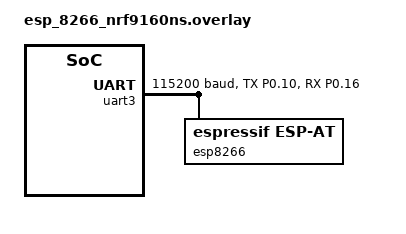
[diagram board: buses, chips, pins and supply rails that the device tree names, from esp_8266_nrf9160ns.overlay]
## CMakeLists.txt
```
#
# Copyright (c) 2021 Nordic Semiconductor
#
# SPDX-License-Identifier: LicenseRef-Nordic-5-Clause
#

cmake_minimum_required(VERSION 3.13.1)

find_package(Zephyr REQUIRED HINTS $ENV{ZEPHYR_BASE})
project(location_sample)

zephyr_library_sources(src/main.c)
```

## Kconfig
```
#
# Copyright (c) 2021 Nordic Semiconductor ASA
#
# SPDX-License-Identifier: LicenseRef-Nordic-5-Clause
#

menu "Location sample"

choice LOCATION_SAMPLE_GNSS_ANTENNA
	default LOCATION_SAMPLE_GNSS_ANTENNA_ONBOARD
	prompt "Select which antenna to use for GNSS"

config LOCATION_SAMPLE_GNSS_ANTENNA_ONBOARD
	bool "Use onboard antenna"

config LOCATION_SAMPLE_GNSS_ANTENNA_EXTERNAL
	bool "Use external antenna"

endchoice

config LOCATION_SAMPLE_GNSS_AT_MAGPIO
	string "AT%XMAGPIO command"
	default "AT\%XMAGPIO=1,0,0,1,1,1574,1577" if BOARD_NRF9160DK_NRF9160_NS
	default "AT\%XMAGPIO=1,1,1,7,1,746,803,2,698,748,2,1710,2200,3,824,894,4,880,960,5,791,849,7,1565,1586" if BOARD_THINGY91_NRF9160_NS
	help
	  Defines what is the AT%XMAGPIO command to be sent to GNSS module. Leave
	  empty if this command should not be sent.

config LOCATION_SAMPLE_GNSS_AT_COEX0
	string "AT%XCOEX0 command"
	default "AT\%XCOEX0=1,1,1565,1586" if (BOARD_NRF9160DK_NRF9160_NS || BOARD_THINGY91_NRF9160_NS) && LOCATION_SAMPLE_GNSS_ANTENNA_ONBOARD
	default "AT\%XCOEX0" if (BOARD_NRF9160DK_NRF9160_NS || BOARD_THINGY91_NRF9160_NS) && LOCATION_SAMPLE_GNSS_ANTENNA_EXTERNAL
	help
	  Defines what is the AT%XCOEX0 command to be sent to GNSS module. Leave
	  empty if this command should not be sent.

endmenu

menu "Zephyr Kernel"
source "Kconfig.zephyr"
endmenu
```

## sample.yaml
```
sample:
  name: location Sample
tests:
  sample.nrf9160.location:
    build_only: true
    integration_platforms:
      - nrf9160dk_nrf9160_ns
    platform_allow: nrf9160dk_nrf9160_ns
    tags: ci_build
  sample.nrf9160.location.esp_wifi:
    build_only: true
    extra_args: >
      OVERLAY_CONFIG=overlay-esp-wifi.conf DTC_OVERLAY_FILE="esp_8266_nrf9160ns.overlay"
    integration_platforms:
      - nrf9160dk_nrf9160_ns
    platform_allow: nrf9160dk_nrf9160_ns
    tags: ci_build
  sample.nrf9160.location.pgps:
    build_only: true
    extra_args: OVERLAY_CONFIG=overlay-pgps.conf
    integration_platforms:
      - nrf9160dk_nrf9160_ns
    platform_allow: nrf9160dk_nrf9160_ns
    tags: ci_build
  sample.nrf9160.location.nrf7002ek_wifi:
    build_only: true
    integration_platforms:
      - nrf9160dk_nrf9160_ns
    platform_allow: nrf9160dk_nrf9160_ns
    extra_args: SHIELD=nrf7002ek OVERLAY_CONFIG=overlay-nrf7002ek-wifi-scan-only.conf
                DTC_OVERLAY_FILE="nrf9160dk_with_nrf7002ek.overlay"
    tags: ci_build
  sample.nrf9160.location.nrf7000ek_wifi:
    build_only: true
    integration_platforms:
      - nrf9160dk_nrf9160_ns
    platform_allow: nrf9160dk_nrf9160_ns
    extra_args: SHIELD=nrf7002ek_nrf7000 OVERLAY_CONFIG=overlay-nrf7002ek-wifi-scan-only.conf
                DTC_OVERLAY_FILE="nrf9160dk_with_nrf7002ek.overlay" CONFIG_WPA_SUPP=n
    tags: ci_build
  sample.nrf9160.location.nrf7001ek_wifi:
    build_only: true
    integration_platforms:
      - nrf9160dk_nrf9160_ns
    platform_allow: nrf9160dk_nrf9160_ns
    extra_args: SHIELD=nrf7002ek_nrf7001 OVERLAY_CONFIG=overlay-nrf7002ek-wifi-scan-only.conf
                DTC_OVERLAY_FILE="nrf9160dk_with_nrf7002ek.overlay"
    tags: ci_build
```

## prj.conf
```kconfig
#
# Copyright (c) 2021 Nordic Semiconductor ASA
#
# SPDX-License-Identifier: LicenseRef-Nordic-5-Clause
#

# General config
CONFIG_FPU=y
CONFIG_NEWLIB_LIBC=y
CONFIG_NEWLIB_LIBC_FLOAT_PRINTF=y
CONFIG_NRF_MODEM_LIB=y

# Heap and stacks
CONFIG_MAIN_STACK_SIZE=2048
# Extended memory heap size needed for encoding REST messages to JSON
CONFIG_HEAP_MEM_POOL_SIZE=8192
CONFIG_SYSTEM_WORKQUEUE_STACK_SIZE=1536
# Increase AT monitor heap because %NCELLMEAS notifications can be large
CONFIG_AT_MONITOR_HEAP_SIZE=512

# Location library
CONFIG_LOCATION=y

# Logging
CONFIG_LOG=y
CONFIG_LOG_MODE_IMMEDIATE=y

# Network
CONFIG_NETWORKING=y
CONFIG_NET_NATIVE=n
CONFIG_NET_SOCKETS=y
CONFIG_NET_SOCKETS_OFFLOAD=y

# LTE link control
CONFIG_LTE_LINK_CONTROL=y
CONFIG_LTE_NETWORK_MODE_LTE_M_GPS=y
CONFIG_LTE_AUTO_INIT_AND_CONNECT=n
CONFIG_LTE_EDRX_REQ=y
# Request PSM active time of 8 seconds.
CONFIG_LTE_PSM_REQ_RAT="00000100"

# AT Host library - Used to send AT commands directy from an UART terminal and to allow
#		    integration with nRF Connect for Desktop LTE Link monitor application.
CONFIG_UART_INTERRUPT_DRIVEN=y
CONFIG_AT_HOST_LIBRARY=y

# nRF Cloud (for A-GPS and cell location)
CONFIG_NRF_CLOUD_REST=y
CONFIG_NRF_CLOUD_AGPS=y
CONFIG_MODEM_INFO=y # required by CONFIG_NRF_CLOUD_AGPS
CONFIG_MODEM_INFO_ADD_NETWORK=y # required by CONFIG_NRF_CLOUD_AGPS

# Library that maintains the current date time UTC for A-GPS and P-GPS purposes
CONFIG_DATE_TIME=y

# Modem JWT
CONFIG_MODEM_JWT=y

# Location service selection
#CONFIG_LOCATION_SERVICE_NRF_CLOUD=n
#CONFIG_LOCATION_SERVICE_HERE=y
#CONFIG_LOCATION_SERVICE_HERE_API_KEY=""
```

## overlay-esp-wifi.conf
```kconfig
# ESP 8266 WIFI
CONFIG_WIFI=y
CONFIG_WIFI_LOG_LEVEL_DBG=y # optional
CONFIG_WIFI_OFFLOAD=y
CONFIG_NET_MGMT_EVENT_STACK_SIZE=1024

CONFIG_NET_IPV4=y  # must for ESP8266 to compile
CONFIG_NET_NATIVE=y # must for ESP8266 to compile

CONFIG_WIFI_ESP_AT=y
CONFIG_WIFI_ESP_AT_SCAN_MAC_ADDRESS=y
CONFIG_WIFI_ESP_AT_SCAN_PASSIVE=n
CONFIG_WIFI_ESP_AT_VERSION_1_7=y
CONFIG_WIFI_ESP_AT_SCAN_RESULT_RSSI_ORDERED=y

CONFIG_LOCATION_METHOD_WIFI=y
```

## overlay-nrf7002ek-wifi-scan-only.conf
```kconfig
#
# Copyright (c) 2022 Nordic Semiconductor ASA
#
# SPDX-License-Identifier: LicenseRef-Nordic-5-Clause
#

# Overlay to use nRF7002 EK on top of nrf9160 DK for Wi-Fi scanning

# Disable modem traces as UART1 is disabled
CONFIG_NRF_MODEM_LIB_TRACE=n

CONFIG_LOCATION_METHOD_WIFI=y
CONFIG_LOCATION_SERVICE_NRF_CLOUD=y

# Align this with CONFIG_NRF700X_SCAN_LIMIT.
# Also see comments for CONFIG_HEAP_MEM_POOL_SIZE.
CONFIG_LOCATION_METHOD_WIFI_SCANNING_RESULTS_MAX_CNT=60
CONFIG_LOCATION_WORKQUEUE_STACK_SIZE=8192

# Actual configs for the Wi-Fi
CONFIG_WIFI=y
CONFIG_NRF_WIFI700X=y
# Align this with CONFIG_LOCATION_METHOD_WIFI_SCANNING_RESULTS_MAX_CNT.
# Also see comments for CONFIG_HEAP_MEM_POOL_SIZE.
CONFIG_NRF700X_SCAN_LIMIT=60

# System settings
CONFIG_NEWLIB_LIBC=y

# Scan only using offload API
CONFIG_WPA_SUPP=n

# For nRF9160 the default is socket interface
CONFIG_NET_DEFAULT_IF_ETHERNET=y
CONFIG_MBEDTLS=n
CONFIG_NORDIC_SECURITY_BACKEND=n

# Networking
CONFIG_NET_L2_ETHERNET=y
CONFIG_NET_NATIVE=y
CONFIG_NET_IPV4=y
CONFIG_NET_DHCPV4=y
CONFIG_NET_STATISTICS=y
CONFIG_NET_STATISTICS_WIFI=y
CONFIG_NET_STATISTICS_USER_API=y
CONFIG_NET_CONTEXT_SYNC_RECV=y

# Disable unused networking options
CONFIG_NET_IPV6=n

# Memory configurations
CONFIG_NET_BUF_RX_COUNT=8
CONFIG_NET_BUF_TX_COUNT=8
CONFIG_NET_PKT_RX_COUNT=1
CONFIG_NET_PKT_TX_COUNT=1
CONFIG_NET_TX_STACK_SIZE=4096
CONFIG_NET_RX_STACK_SIZE=4096
CONFIG_NET_TC_TX_COUNT=1
CONFIG_NET_MAX_CONTEXTS=5
CONFIG_NET_MGMT_EVENT_STACK_SIZE=1024

# Wi-Fi shell sample has 25000 heap size. We need a bit more for location request purposes.
# Heap allocation should be changed when CONFIG_LOCATION_METHOD_WIFI_SCANNING_RESULTS_MAX_CNT
# and CONFIG_NRF700X_SCAN_LIMIT (which should be the same value) are changed.
CONFIG_HEAP_MEM_POOL_SIZE=40000
```

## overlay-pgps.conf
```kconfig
#
# Copyright (c) 2021 Nordic Semiconductor ASA
#
# SPDX-License-Identifier: LicenseRef-Nordic-5-Clause
#

# P-GPS overlay configuration

# P-GPS
CONFIG_NRF_CLOUD_REST=y
CONFIG_BUILD_WITH_TFM=n
CONFIG_SPM=y
CONFIG_NRF_CLOUD_PGPS=y
CONFIG_NRF_CLOUD_PGPS_REPLACEMENT_THRESHOLD=4

# Storage for P-GPS
CONFIG_STREAM_FLASH=y
CONFIG_FLASH=y
CONFIG_FLASH_PAGE_LAYOUT=y
CONFIG_FLASH_MAP=y
CONFIG_FCB=y
CONFIG_SETTINGS_FCB=y
CONFIG_MPU_ALLOW_FLASH_WRITE=y

# P-GPS needs more heap
CONFIG_HEAP_MEM_POOL_SIZE=8192

# Download client library stack size needs to be increased with P-GPS
CONFIG_DOWNLOAD_CLIENT_STACK_SIZE=1280
```

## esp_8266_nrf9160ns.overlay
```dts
/* Copyright (c) 2021-2022 Nordic Semiconductor ASA
 *
 * SPDX-License-Identifier: LicenseRef-Nordic-5-Clause
 */

 /*
  * DTS overlay to be used with connecting nRF9160DK with ESP8266-01 using
  * esp_at driver.
  *
  * https://en.wikipedia.org/wiki/ESP8266
  *
  * Wiring:
  * - Slide (SW9) to enable 3V mode.
  * - ESP8266 RX → DK P0.10 (TX)
  * - ESP8266 TX → DK P0.16 (RX)
  * - ESP8266 VCC → DK VDD
  * - ESP8266 CH_PD → DK VDD
  * - ESP8266 GND → DK GND.
  *
  * Compilation with SW overlay:
  * 'west build -p -b nrf9160dk_nrf9160_ns -- -DDTC_OVERLAY_FILE=esp_8266_nrf9160ns.overlay -DOVERLAY_CONFIG=overlay-esp-wifi.conf'
  */

&uart3 {
	status = "okay";
	current-speed = <115200>;

	pinctrl-0 = <&uart3_default_alt>;
	pinctrl-1 = <&uart3_sleep_alt>;
	pinctrl-names = "default", "sleep";
	esp8266: esp8266 {
		compatible = "espressif,esp-at";
		label = "esp8266";
		status = "okay";
	};
};

&pinctrl {
	uart3_default_alt: uart3_default_alt {
		group1 {
			psels = <NRF_PSEL(UART_TX, 0, 10)>,
				<NRF_PSEL(UART_RX, 0, 16)>;
		};
	};

	uart3_sleep_alt: uart3_sleep_alt {
		group1 {
			psels = <NRF_PSEL(UART_TX, 0, 10)>,
				<NRF_PSEL(UART_RX, 0, 16)>;
			low-power-enable;
		};
	};

};

/ {
	chosen {
		ncs,location-wifi = &esp8266;
	};
};
```

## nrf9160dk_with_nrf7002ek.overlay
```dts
/*
 * Copyright (c) 2022 Nordic Semiconductor ASA
 *
 * SPDX-License-Identifier: LicenseRef-Nordic-5-Clause
 */

/* Use high drive mode on SPI pins that handle communication with nRF7002
 * so that SCK frequency > 4 MHz can be used. */
 &spi3_default {
	group1 {
		nordic,drive-mode = <NRF_DRIVE_H0H1>;
	};
};

/* Disabled because of conflicts on P0.00 and P0.01 - Arduino pins D0 and D1
 * (iovdd-ctrl-gpios and bucken-gpios in nrf7002_ek, respectively). */
&uart1 {
	status = "disabled";
};
```

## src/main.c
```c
/*
 * Copyright (c) 2021 Nordic Semiconductor ASA
 *
 * SPDX-License-Identifier: LicenseRef-Nordic-5-Clause
 */

#include <string.h>
#include <zephyr/kernel.h>
#include <nrf_modem_at.h>
#include <modem/lte_lc.h>
#include <modem/location.h>
#include <date_time.h>

static K_SEM_DEFINE(location_event, 0, 1);

static K_SEM_DEFINE(lte_connected, 0, 1);

static K_SEM_DEFINE(time_update_finished, 0, 1);

static void date_time_evt_handler(const struct date_time_evt *evt)
{
	k_sem_give(&time_update_finished);
}

static void lte_event_handler(const struct lte_lc_evt *const evt)
{
	switch (evt->type) {
	case LTE_LC_EVT_NW_REG_STATUS:
		if ((evt->nw_reg_status == LTE_LC_NW_REG_REGISTERED_HOME) ||
		     (evt->nw_reg_status == LTE_LC_NW_REG_REGISTERED_ROAMING)) {
			printk("Connected to LTE\n");
			k_sem_give(&lte_connected);
		}
		break;
	default:
		break;
	}
}

static void location_event_handler(const struct location_event_data *event_data)
{
	switch (event_data->id) {
	case LOCATION_EVT_LOCATION:
		printk("Got location:\n");
		printk("  method: %s\n", location_method_str(event_data->method));
		printk("  latitude: %.06f\n", event_data->location.latitude);
		printk("  longitude: %.06f\n", event_data->location.longitude);
		printk("  accuracy: %.01f m\n", event_data->location.accuracy);
		if (event_data->location.datetime.valid) {
			printk("  date: %04d-%02d-%02d\n",
				event_data->location.datetime.year,
				event_data->location.datetime.month,
				event_data->location.datetime.day);
			printk("  time: %02d:%02d:%02d.%03d UTC\n",
				event_data->location.datetime.hour,
				event_data->location.datetime.minute,
				event_data->location.datetime.second,
				event_data->location.datetime.ms);
		}
		printk("  Google maps URL: https://maps.google.com/?q=%.06f,%.06f\n\n",
			event_data->location.latitude, event_data->location.longitude);
		break;

	case LOCATION_EVT_TIMEOUT:
		printk("Getting location timed out\n\n");
		break;

	case LOCATION_EVT_ERROR:
		printk("Getting location failed\n\n");
		break;

	case LOCATION_EVT_GNSS_ASSISTANCE_REQUEST:
		printk("Getting location assistance requested (A-GPS). Not doing anything.\n\n");
		break;

	case LOCATION_EVT_GNSS_PREDICTION_REQUEST:
		printk("Getting location assistance requested (P-GPS). Not doing anything.\n\n");
		break;

	default:
		printk("Getting location: Unknown event\n\n");
		break;
	}

	k_sem_give(&location_event);
}

static void location_event_wait(void)
{
	k_sem_take(&location_event, K_FOREVER);
}

/**
 * @brief Retrieve location so that fallback is applied.
 *
 * @details This is achieved by setting GNSS as first priority method and giving it too short
 * timeout. Then a fallback to next method, which is cellular in this example, occurs.
 */
static void location_with_fallback_get(void)
{
	int err;
	struct location_config config;
	enum location_method methods[] = {LOCATION_METHOD_GNSS, LOCATION_METHOD_CELLULAR};

	location_config_defaults_set(&config, ARRAY_SIZE(methods), methods);
	/* GNSS timeout is set to 1 second to force a failure. */
	config.methods[0].gnss.timeout = 1 * MSEC_PER_SEC;
	/* Default cellular configuration may be overridden here. */
	config.methods[1].cellular.timeout = 40 * MSEC_PER_SEC;

	printk("Requesting location with short GNSS timeout to trigger fallback to cellular...\n");

	err = location_request(&config);
	if (err) {
		printk("Requesting location failed, error: %d\n", err);
		return;
	}

	location_event_wait();
}

/**
 * @brief Retrieve location with default configuration.
 *
 * @details This is achieved by not passing configuration at all to location_request().
 */
static void location_default_get(void)
{
	int err;

	printk("Requesting location with the default configuration...\n");

	err = location_request(NULL);
	if (err) {
		printk("Requesting location failed, error: %d\n", err);
		return;
	}

	location_event_wait();
}

/**
 * @brief Retrieve location with GNSS low accuracy.
 */
static void location_gnss_low_accuracy_get(void)
{
	int err;
	struct location_config config;
	enum location_method methods[] = {LOCATION_METHOD_GNSS};

	location_config_defaults_set(&config, ARRAY_SIZE(methods), methods);
	config.methods[0].gnss.accuracy = LOCATION_ACCURACY_LOW;

	printk("Requesting low accuracy GNSS location...\n");

	err = location_request(&config);
	if (err) {
		printk("Requesting location failed, error: %d\n", err);
		return;
	}

	location_event_wait();
}

/**
 * @brief Retrieve location with GNSS high accuracy.
 */
static void location_gnss_high_accuracy_get(void)
{
	int err;
	struct location_config config;
	enum location_method methods[] = {LOCATION_METHOD_GNSS};

	location_config_defaults_set(&config, ARRAY_SIZE(methods), methods);
	config.methods[0].gnss.accuracy = LOCATION_ACCURACY_HIGH;

	printk("Requesting high accuracy GNSS location...\n");

	err = location_request(&config);
	if (err) {
		printk("Requesting location failed, error: %d\n", err);
		return;
	}

	location_event_wait();
}

#if defined(CONFIG_LOCATION_METHOD_WIFI)
/**
 * @brief Retrieve location with Wi-Fi positioning as first priority, GNSS as second
 * and cellular as third.
 */
static void location_wifi_get(void)
{
	int err;
	struct location_config config;
	enum location_method methods[] = {
		LOCATION_METHOD_WIFI,
		LOCATION_METHOD_GNSS,
		LOCATION_METHOD_CELLULAR};

	location_config_defaults_set(&config, ARRAY_SIZE(methods), methods);

	printk("Requesting Wi-Fi location with GNSS and cellular fallback...\n");

	err = location_request(&config);
	if (err) {
		printk("Requesting location failed, error: %d\n", err);
		return;
	}

	location_event_wait();
}
#endif

/**
 * @brief Retrieve location periodically with GNSS as first priority and cellular as second.
 */
static void location_gnss_periodic_get(void)
{
	int err;
	struct location_config config;
	enum location_method methods[] = {LOCATION_METHOD_GNSS, LOCATION_METHOD_CELLULAR};

	location_config_defaults_set(&config, ARRAY_SIZE(methods), methods);
	config.interval = 30;

	printk("Requesting 30s periodic GNSS location with cellular fallback...\n");

	err = location_request(&config);
	if (err) {
		printk("Requesting location failed, error: %d\n", err);
		return;
	}
}

int main(void)
{
	int err;

	printk("Location sample started\n\n");

	if (IS_ENABLED(CONFIG_DATE_TIME)) {
		/* Registering early for date_time event handler to avoid missing
		 * the first event after LTE is connected.
		 */
		date_time_register_handler(date_time_evt_handler);
	}

	printk("Connecting to LTE...\n");

	lte_lc_init();
	lte_lc_register_handler(lte_event_handler);

	/* Enable PSM. */
	lte_lc_psm_req(true);
	lte_lc_connect();

	k_sem_take(&lte_connected, K_FOREVER);

	/* A-GPS/P-GPS needs to know the current time. */
	if (IS_ENABLED(CONFIG_DATE_TIME)) {
		printk("Waiting for current time\n");

		/* Wait for an event from the Date Time library. */
		k_sem_take(&time_update_finished, K_MINUTES(10));

		if (!date_time_is_valid()) {
			printk("Failed to get current time. Continuing anyway.\n");
		}
	}

	err = location_init(location_event_handler);
	if (err) {
		printk("Initializing the Location library failed, error: %d\n", err);
		return -1;
	}

	/* The fallback case is run first, otherwise GNSS might get a fix even with a 1 second
	 * timeout.
	 */
	location_with_fallback_get();

	location_default_get();

	location_gnss_low_accuracy_get();

	location_gnss_high_accuracy_get();

#if defined(CONFIG_LOCATION_METHOD_WIFI)
	location_wifi_get();
#endif

	location_gnss_periodic_get();

	return 0;
}
```
